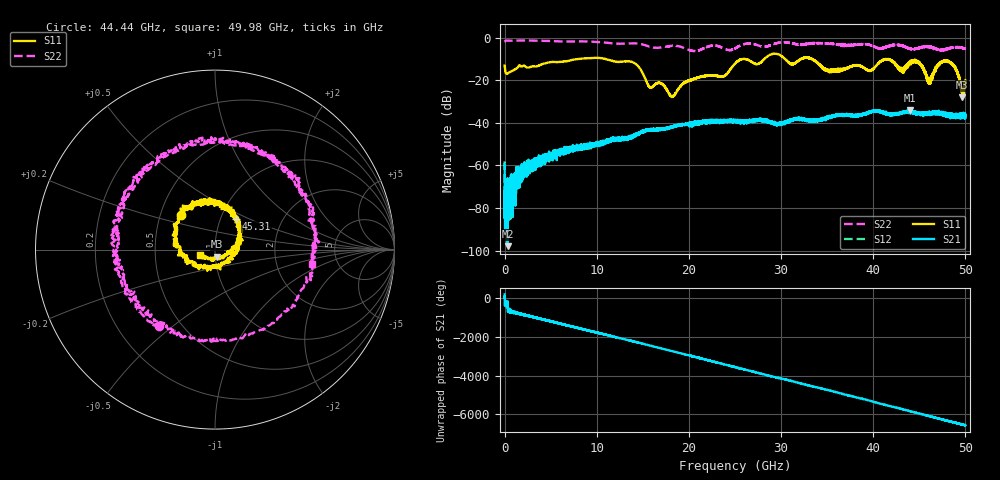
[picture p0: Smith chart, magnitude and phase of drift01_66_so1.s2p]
!Created with skrf (http://scikit-rf.org).
# Hz S RI R 50.0
!freq ReS11 ImS11 ReS21 ImS21 ReS12 ImS12 ReS22 ImS22
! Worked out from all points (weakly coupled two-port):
!   10001 points, 300 kHz to 50 GHz, reference 50 ohm
!   highest |S21| = -34.09 dB at 44.03 GHz (marker M1); lowest = -97.9 dB at 335.3 MHz (marker M2)
!   lowest |S11| = -28.0 dB at 49.67 GHz (marker M3), VSWR 1.08, Z = 50.7 - j3.95 ohm
!   |S11| at or under -10 dB: start of sweep to 8.048 GHz; 10.91 GHz to 25.86 GHz (14.95 GHz wide, 81.4 % of centre); 33.35 GHz to end of sweep (the widest 3 of 16)
!   |S22| runs from -6.4 to -1.4 dB; largest |S21 - S12| = 0.0044
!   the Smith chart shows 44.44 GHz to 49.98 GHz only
!   S11 on the Smith chart (normalised r, x): 44.44 GHz: 0.64, +0.27; 45.31 GHz: 1.19, +0.42; 49.98 GHz: 0.84, -0.05
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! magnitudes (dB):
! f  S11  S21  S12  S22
! 300 kHz  -13.1  -59.5  -58.0  -2.1
! 335.3 MHz  -16.8  -97.9  -88.5  -1.4
! 3.16 GHz  -13.5  -58.8  -60.3  -1.4
! 8.335 GHz  -9.9  -51.0  -51.8  -1.8
! 13.8 GHz  -11.4  -47.4  -46.5  -2.7
! 15.74 GHz  -23.2  -43.2  -43.5  -4.2
! 16.67 GHz  -21.2  -43.4  -43.4  -4.8
! 18.22 GHz  -27.7  -41.8  -41.7  -3.9
! 25 GHz  -12.2  -39.2  -39.5  -5.0
! 33.34 GHz  -10.1  -39.0  -39.0  -2.7
! 35.37 GHz  -15.3  -37.7  -37.3  -2.9
! 41.67 GHz  -10.2  -36.2  -35.8  -4.1
! 43.04 GHz  -15.1  -35.2  -35.1  -3.7
! 44.03 GHz  -12.0  -34.1  -35.1  -5.3
! 44.44 GHz  -11.3  -35.0  -35.5  -5.5
! 45.31 GHz  -13.6  -35.2  -35.6  -4.3
! 46.12 GHz  -21.2  -35.6  -35.8  -4.4
! 47.21 GHz  -12.3  -35.0  -35.3  -5.9
! 48.31 GHz  -11.5  -35.7  -36.3  -5.0
! 49.67 GHz  -28.0  -36.3  -36.9  -4.7
! 49.98 GHz  -21.0  -36.5  -36.4  -5.2
! 50 GHz  -20.6  -37.1  -35.9  -5.2
